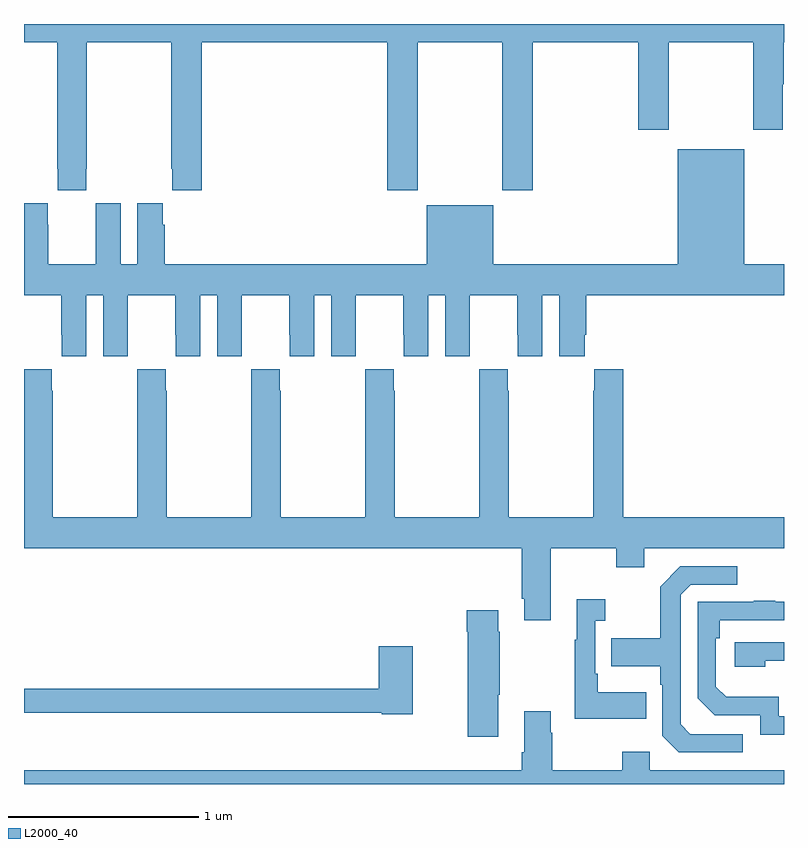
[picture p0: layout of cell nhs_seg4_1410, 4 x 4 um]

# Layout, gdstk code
import gdstk
lib = gdstk.Library(unit=1e-6, precision=1e-09)
def P(c, l, *ps):  # polygons
    for p in ps: c.add(gdstk.Polygon(p, *l))
L2000_40 = (2000, 40)

nhs_seg4_1410 = lib.new_cell('nhs_seg4_1410')
P(nhs_seg4_1410, L2000_40, [(183.327,812.137),(183.33,812.137),(183.33,812.804),(183.775,812.804),(183.775,812.137),(183.781,812.137),(183.781,812.025),(183.935,812.025),(183.935,812.804),(184.913,812.804),(184.913,812.025),(185.073,812.025),(185.073,812.804),(185.518,812.804),(185.518,812.025),(185.678,812.025),(185.678,812.804),(186.233,812.804),(186.233,812.343),(186.393,812.343),(186.393,812.804),(186.838,812.804),(186.838,812.343),(186.993,812.343),(186.993,812.582),(186.998,812.582),(186.998,812.804),(187,812.804),(187,812.9),(183,812.9),(183,812.804),(183.175,812.804),(183.175,812.137),(183.177,812.137),(183.177,812.025),(183.327,812.025)],
  [(183.797,811.264),(183.798,811.264),(183.798,811.152),(183.928,811.152),(183.928,811.472),(184.016,811.472),(184.016,811.152),(184.146,811.152),(184.146,811.264),(184.147,811.264),(184.147,811.472),(184.397,811.472),(184.397,811.264),(184.398,811.264),(184.398,811.152),(184.528,811.152),(184.528,811.472),(184.616,811.472),(184.616,811.152),(184.746,811.152),(184.746,811.264),(184.747,811.264),(184.747,811.472),(184.997,811.472),(184.997,811.264),(184.998,811.264),(184.998,811.152),(185.128,811.152),(185.128,811.472),(185.216,811.472),(185.216,811.152),(185.346,811.152),(185.346,811.264),(185.347,811.264),(185.347,811.472),(185.597,811.472),(185.597,811.264),(185.598,811.264),(185.598,811.152),(185.728,811.152),(185.728,811.472),(185.816,811.472),(185.816,811.152),(185.95,811.152),(185.95,811.264),(185.96,811.264),(185.96,811.472),(187,811.472),(187,811.636),(186.79,811.636),(186.79,812.242),(186.44,812.242),(186.44,811.636),(185.47,811.636),(185.47,811.945),(185.12,811.945),(185.12,811.636),(183.74,811.636),(183.74,811.844),(183.73,811.844),(183.73,811.957),(183.596,811.957),(183.596,811.636),(183.508,811.636),(183.508,811.957),(183.378,811.957),(183.378,811.844),(183.377,811.844),(183.377,811.636),(183.127,811.636),(183.127,811.844),(183.126,811.844),(183.126,811.957),(183,811.957),(183,811.472),(183.197,811.472),(183.197,811.264),(183.198,811.264),(183.198,811.152),(183.328,811.152),(183.328,811.472),(183.416,811.472),(183.416,811.152),(183.546,811.152),(183.546,811.264),(183.547,811.264),(183.547,811.472),(183.797,811.472)],
  [(183.147,810.971),(183.147,811.084),(183,811.084),(183,810.14),(185.621,810.14),(185.621,809.875),(185.633,809.875),(185.633,809.763),(185.773,809.763),(185.773,810.14),(186.118,810.14),(186.118,810.041),(186.265,810.041),(186.265,810.14),(187,810.14),(187,810.304),(186.155,810.304),(186.155,811.084),(186.001,811.084),(186.001,810.971),(185.995,810.971),(185.995,810.304),(185.55,810.304),(185.55,810.971),(185.547,810.971),(185.547,811.084),(185.397,811.084),(185.397,810.971),(185.395,810.971),(185.395,810.304),(184.95,810.304),(184.95,810.971),(184.947,810.971),(184.947,811.084),(184.797,811.084),(184.797,810.971),(184.795,810.971),(184.795,810.304),(184.35,810.304),(184.35,810.971),(184.347,810.971),(184.347,811.084),(184.197,811.084),(184.197,810.971),(184.195,810.971),(184.195,810.304),(183.75,810.304),(183.75,810.971),(183.747,810.971),(183.747,811.084),(183.597,811.084),(183.597,810.971),(183.595,810.971),(183.595,810.304),(183.15,810.304),(183.15,810.971)],
  [(186.784,809.163),(186.507,809.163),(186.456,809.214),(186.456,809.895),(186.51,809.949),(186.754,809.949),(186.754,810.045),(186.453,810.045),(186.348,809.939),(186.348,809.667),(186.091,809.667),(186.091,809.519),(186.348,809.519),(186.348,809.423),(186.36,809.423),(186.36,809.154),(186.447,809.067),(186.784,809.067)],
  [(186.275,809.383),(186.019,809.383),(186.019,809.479),(186.006,809.479),(186.006,809.759),(186.058,809.759),(186.058,809.872),(185.909,809.872),(185.909,809.659),(185.898,809.659),(185.898,809.243),(186.275,809.243)],
  [(187,809.256),(186.972,809.256),(186.972,809.359),(186.695,809.359),(186.642,809.412),(186.642,809.666),(186.662,809.666),(186.662,809.763),(187,809.763),(187,809.859),(186.953,809.859),(186.953,809.864),(186.841,809.864),(186.841,809.859),(186.546,809.859),(186.546,809.352),(186.636,809.262),(186.876,809.262),(186.876,809.16),(187,809.16)],
  [(185.497,809.371),(185.505,809.371),(185.505,809.702),(185.497,809.702),(185.497,809.815),(185.33,809.815),(185.33,809.702),(185.335,809.702),(185.335,809.148),(185.497,809.148)],
  [(186.902,809.55),(187,809.55),(187,809.646),(186.741,809.646),(186.741,809.516),(186.902,809.516)],
  [(185.046,809.626),(184.868,809.626),(184.868,809.402),(183,809.402),(183,809.274),(184.884,809.274),(184.884,809.266),(185.046,809.266)],
  [(187,808.972),(186.294,808.972),(186.294,809.071),(186.148,809.071),(186.148,808.972),(185.781,808.972),(185.781,809.171),(185.773,809.171),(185.773,809.284),(185.633,809.284),(185.633,809.068),(185.621,809.068),(185.621,808.972),(183,808.972),(183,808.9),(187,808.9)])

lib.write_gds('nhs_seg4_1410.gds')
